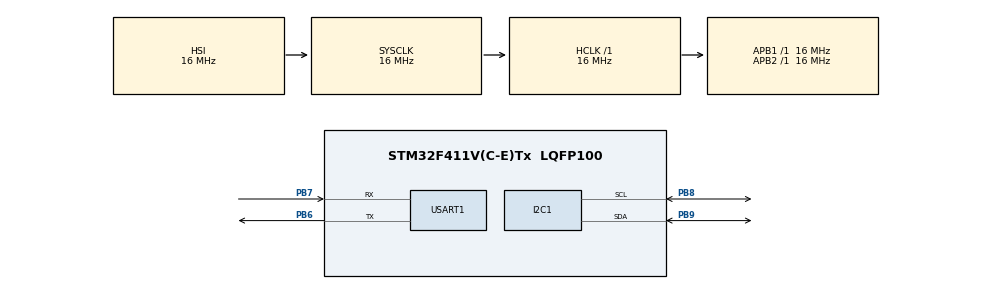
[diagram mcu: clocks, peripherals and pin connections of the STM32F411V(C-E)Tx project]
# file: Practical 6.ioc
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Mcu.Family=STM32F4
Mcu.Name=STM32F411V(C-E)Tx
Mcu.Package=LQFP100
NVIC.PriorityGroup=NVIC_PRIORITYGROUP_4
PB6.Mode=Asynchronous
PB6.Signal=USART1_TX
PB7.Mode=Asynchronous
PB7.Signal=USART1_RX
PB8.Mode=I2C
PB8.Signal=I2C1_SCL
PB9.Mode=I2C
PB9.Signal=I2C1_SDA
ProjectManager.HeapSize=0x200
ProjectManager.StackSize=0x400
ProjectManager.TargetToolchain=STM32CubeIDE
RCC.AHBFreq_Value=16000000
RCC.APB1Freq_Value=16000000
RCC.APB2Freq_Value=16000000
RCC.CortexFreq_Value=16000000
RCC.HSE_VALUE=25000000
RCC.HSI_VALUE=16000000
RCC.LSE_VALUE=32768
RCC.SYSCLKFreq_VALUE=16000000
RCC.VCOOutputFreq_Value=192000000
USART1.VirtualMode=VM_ASYNC
board=custom

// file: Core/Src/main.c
/* USER CODE BEGIN Header */
/**
  ******************************************************************************
  * @file           : main.c
  * @brief          : Main program body
  ******************************************************************************
  * @attention
  *
  * <h2><center>&copy; Copyright (c) 2020 STMicroelectronics.
  * All rights reserved.</center></h2>
  *
  * This software component is licensed by ST under BSD 3-Clause license,
  * the "License"; You may not use this file except in compliance with the
  * License. You may obtain a copy of the License at:
  *                        opensource.org/licenses/BSD-3-Clause
  *
  ******************************************************************************
  */
/* USER CODE END Header */

#include "main.h"

/* USER CODE BEGIN Includes */
#include "Sprites.h"
#include "stdlib.h"
/* USER CODE END Includes */

/* USER CODE BEGIN PD */
#define Screen_Start (unsigned char*)0x20020000

/* USER CODE END PD */

I2C_HandleTypeDef hi2c1;

UART_HandleTypeDef huart1;

/* USER CODE BEGIN PV */
uint8_t spritemem[1500];
int xPos = 150;
int yPos = 100;

uint8_t i2cData[10];
HAL_StatusTypeDef res;
int ax;
int ay;
int az;

uint8_t txData[20] = "x: XXXXX, y: XXXXX\n";

/* USER CODE END PV */

void SystemClock_Config(void);
static void MX_GPIO_Init(void);
static void MX_I2C1_Init(void);
static void MX_USART1_UART_Init(void);

/* USER CODE BEGIN 0 */
void BitBlit(unsigned char* ptr_screen, unsigned char* ptr_sprite, int x, int y, int sprite_w, int sprite_h);
void ClearSprite(unsigned char* ptr_screen, int x, int y, int sprite_w, int sprite_h);

/* USER CODE END 0 */

int main(void)
{

  /* MCU Configuration--------------------------------------------------------*/

  /* Reset of all peripherals, Initializes the Flash interface and the Systick. */
  HAL_Init();

  /* Configure the system clock */
  SystemClock_Config();

  /* Initialize all configured peripherals */
  MX_GPIO_Init();
  MX_I2C1_Init();
  MX_USART1_UART_Init();
  /* USER CODE BEGIN 2 */
  LDRSprites(spritemem);
  BitBlit(Screen_Start, FindSprite(spritemem, INV2), xPos, yPos, INV2_W, INV2_H);

  i2cData[0] = 0x20;
  i2cData[1] = 0x47;
  res = HAL_I2C_Master_Transmit(&hi2c1, 0x32, i2cData, 2, 10);

  i2cData[0] = 0x23;
  i2cData[1] = 0x30;
  res = HAL_I2C_Master_Transmit(&hi2c1, 0x32, i2cData, 2, 10);
  /* USER CODE END 2 */

  /* Infinite loop */
  /* USER CODE BEGIN WHILE */
  while (1)
  {

	  HAL_Delay(1);
	  i2cData[0] = 0xA8;
	  res = HAL_I2C_Master_Transmit(&hi2c1, 0x32, i2cData, 1, 10);
	  res = HAL_I2C_Master_Receive(&hi2c1, 0x32, i2cData, 6, 10);

	  ax = *((int16_t*)i2cData);
	  ay = *((int16_t*)(i2cData+2));
	  az = *((int16_t*)(i2cData+4));

	  ax /= 100;
	  ay /= 100;

	  ClearSprite(Screen_Start, xPos, yPos, INV2_W, INV2_H);

	  xPos += ax;
	  yPos += ay;

	  // Clamp screen coordinates
	  if (xPos < 0) {
		  xPos = 0;
	  }
	  else if (xPos >= 320 - INV2_W) {
		  xPos = 320 - INV2_W;
	  }
	  if (yPos < 0) {
		  yPos = 0;
	  }
	  else if (yPos >= 200 - INV2_H) {
		  yPos = 200 - INV2_H;
	  }

	  BitBlit(Screen_Start, FindSprite(spritemem, INV2), xPos, yPos, INV2_W, INV2_H);

	  int xVel = abs(ax);
	  int yVel = abs(ay);

	  txData[3] = (xVel / 10000) % 10 + 48;
	  txData[4] = (xVel / 1000) % 10 + 48;
	  txData[5] = (xVel / 100) % 10 + 48;
	  txData[6] = (xVel / 10) % 10 + 48;
	  txData[7] = (xVel / 1) % 10 + 48;

	  txData[13] = (yVel / 10000) % 10 + 48;
	  txData[14] = (yVel / 1000) % 10 + 48;
	  txData[15] = (yVel / 100) % 10 + 48;
	  txData[16] = (yVel / 10) % 10 + 48;
	  txData[17] = (yVel / 1) % 10 + 48;

	  if (ax < 0) {
		  for (int i = 7; i > 3; i--) {
			  if(txData[i] == 48) {
				  txData[i] = 45;
				  break;
			  }
		  }
	  }
	  if (ay < 0) {
		  for (int i = 17; i > 13; i--) {
			  if(txData[i] == 48) {
				  txData[i] = 45;
				  break;
			  }
		  }
	  }

	  HAL_UART_Transmit(&huart1, txData, 20, 10);

    /* USER CODE END WHILE */

  }
}

void SystemClock_Config(void)
{
  RCC_OscInitTypeDef RCC_OscInitStruct = {0};
  RCC_ClkInitTypeDef RCC_ClkInitStruct = {0};

  /** Configure the main internal regulator output voltage
  */
  __HAL_RCC_PWR_CLK_ENABLE();
  __HAL_PWR_VOLTAGESCALING_CONFIG(PWR_REGULATOR_VOLTAGE_SCALE1);
  /** Initializes the CPU, AHB and APB busses clocks
  */
  RCC_OscInitStruct.OscillatorType = RCC_OSCILLATORTYPE_HSI;
  RCC_OscInitStruct.HSIState = RCC_HSI_ON;
  RCC_OscInitStruct.HSICalibrationValue = RCC_HSICALIBRATION_DEFAULT;
  RCC_OscInitStruct.PLL.PLLState = RCC_PLL_NONE;
  if (HAL_RCC_OscConfig(&RCC_OscInitStruct) != HAL_OK)
  {
    Error_Handler();
  }
  /** Initializes the CPU, AHB and APB busses clocks
  */
  RCC_ClkInitStruct.ClockType = RCC_CLOCKTYPE_HCLK|RCC_CLOCKTYPE_SYSCLK
                              |RCC_CLOCKTYPE_PCLK1|RCC_CLOCKTYPE_PCLK2;
  RCC_ClkInitStruct.SYSCLKSource = RCC_SYSCLKSOURCE_HSI;
  RCC_ClkInitStruct.AHBCLKDivider = RCC_SYSCLK_DIV1;
  RCC_ClkInitStruct.APB1CLKDivider = RCC_HCLK_DIV1;
  RCC_ClkInitStruct.APB2CLKDivider = RCC_HCLK_DIV1;

  if (HAL_RCC_ClockConfig(&RCC_ClkInitStruct, FLASH_LATENCY_0) != HAL_OK)
  {
    Error_Handler();
  }
}

static void MX_I2C1_Init(void)
{

  hi2c1.Instance = I2C1;
  hi2c1.Init.ClockSpeed = 100000;
  hi2c1.Init.DutyCycle = I2C_DUTYCYCLE_2;
  hi2c1.Init.OwnAddress1 = 0;
  hi2c1.Init.AddressingMode = I2C_ADDRESSINGMODE_7BIT;
  hi2c1.Init.DualAddressMode = I2C_DUALADDRESS_DISABLE;
  hi2c1.Init.OwnAddress2 = 0;
  hi2c1.Init.GeneralCallMode = I2C_GENERALCALL_DISABLE;
  hi2c1.Init.NoStretchMode = I2C_NOSTRETCH_DISABLE;
  if (HAL_I2C_Init(&hi2c1) != HAL_OK)
  {
    Error_Handler();
  }

}

static void MX_USART1_UART_Init(void)
{

  huart1.Instance = USART1;
  huart1.Init.BaudRate = 115200;
  huart1.Init.WordLength = UART_WORDLENGTH_8B;
  huart1.Init.StopBits = UART_STOPBITS_1;
  huart1.Init.Parity = UART_PARITY_NONE;
  huart1.Init.Mode = UART_MODE_TX_RX;
  huart1.Init.HwFlowCtl = UART_HWCONTROL_NONE;
  huart1.Init.OverSampling = UART_OVERSAMPLING_16;
  if (HAL_UART_Init(&huart1) != HAL_OK)
  {
    Error_Handler();
  }

}

static void MX_GPIO_Init(void)
{

  /* GPIO Ports Clock Enable */
  __HAL_RCC_GPIOB_CLK_ENABLE();

}

/* USER CODE BEGIN 4 */
void BitBlit(unsigned char* ptr_screen, unsigned char* ptr_sprite, int x, int y, int sprite_w, int sprite_h)
{
	for (int r = 0; r < sprite_h; ++r) {
		for (int c = 0; c < sprite_w; ++c) {

			if (*(ptr_sprite + r*sprite_w + c) != 0) {
				*(ptr_screen + (y+r)*320 + x + c) = *(ptr_sprite + r*sprite_w + c);
			}

		}

	}
}
void ClearSprite(unsigned char* ptr_screen, int x, int y, int sprite_w, int sprite_h)
{
	for (int r = 0; r < sprite_h; ++r) {
		for (int c = 0; c < sprite_w; ++c) {
			*(ptr_screen + (y+r)*320 + x + c) = 0;
		}
	}
}
/* USER CODE END 4 */

void Error_Handler(void)
{
}

/************************ (C) COPYRIGHT STMicroelectronics *****END OF FILE****/
